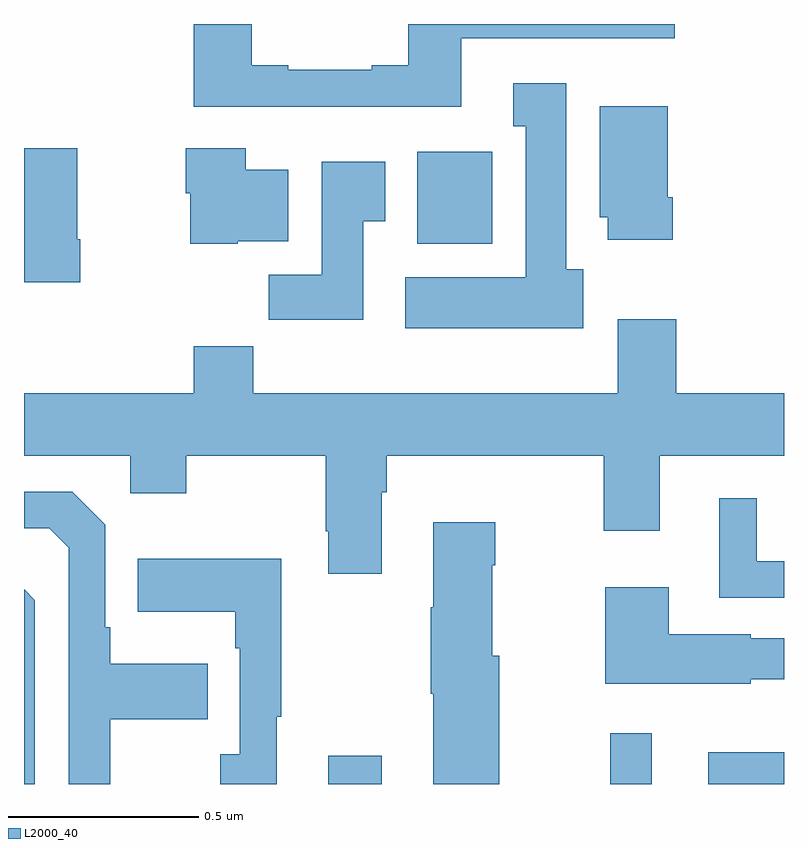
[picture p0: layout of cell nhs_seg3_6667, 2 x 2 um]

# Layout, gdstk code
import gdstk
lib = gdstk.Library(unit=1e-6, precision=1e-09)
def R(c, l, rs):  # rectangles x0, y0, x1, y1
    for r in rs: c.add(gdstk.rectangle(r[:2], r[2:], *l))
def P(c, l, *ps):  # polygons
    for p in ps: c.add(gdstk.Polygon(p, *l))
L2000_40 = (2000, 40)

nhs_seg3_6667 = lib.new_cell('nhs_seg3_6667')
R(nhs_seg3_6667, L2000_40, [(194.801,685.4,194.941,685.474), (195.543,685.4,195.652,685.534), (195.801,685.4,196,685.484), (195.035,686.822,195.232,687.064)])
P(nhs_seg3_6667, L2000_40, [(195.151,687.363),(195.712,687.363),(195.712,687.4),(195.011,687.4),(195.011,687.292),(194.915,687.292),(194.915,687.279),(194.695,687.279),(194.695,687.292),(194.599,687.292),(194.599,687.4),(194.447,687.4),(194.447,687.182),(195.151,687.182)],
  [(195.472,686.754),(195.427,686.754),(195.427,687.244),(195.287,687.244),(195.287,687.131),(195.32,687.131),(195.32,686.734),(195.003,686.734),(195.003,686.6),(195.472,686.6)],
  [(195.707,686.944),(195.694,686.944),(195.694,687.184),(195.515,687.184),(195.515,686.892),(195.536,686.892),(195.536,686.832),(195.707,686.832)],
  [(194.148,686.833),(194.14,686.833),(194.14,687.073),(194,687.073),(194,686.721),(194.148,686.721)],
  [(194.562,686.828),(194.695,686.828),(194.695,687.016),(194.584,687.016),(194.584,687.073),(194.426,687.073),(194.426,686.955),(194.437,686.955),(194.437,686.822),(194.562,686.822)],
  [(194.893,686.881),(194.95,686.881),(194.95,687.037),(194.783,687.037),(194.783,686.74),(194.644,686.74),(194.644,686.622),(194.893,686.622)],
  [(194.941,686.168),(194.954,686.168),(194.954,686.264),(195.526,686.264),(195.526,686.067),(195.673,686.067),(195.673,686.264),(196,686.264),(196,686.428),(195.716,686.428),(195.716,686.623),(195.563,686.623),(195.563,686.428),(194.603,686.428),(194.603,686.552),(194.447,686.552),(194.447,686.428),(194,686.428),(194,686.264),(194.28,686.264),(194.28,686.165),(194.427,686.165),(194.427,686.264),(194.794,686.264),(194.794,686.065),(194.801,686.065),(194.801,685.953),(194.941,685.953)],
  [(194.227,685.57),(194.483,685.57),(194.483,685.717),(194.227,685.717),(194.227,685.813),(194.214,685.813),(194.214,686.082),(194.127,686.169),(194,686.169),(194,686.073),(194.067,686.073),(194.118,686.022),(194.118,685.4),(194.227,685.4)],
  [(196,685.986),(195.928,685.986),(195.928,686.152),(195.83,686.152),(195.83,685.89),(196,685.89)],
  [(195.25,685.737),(195.232,685.737),(195.232,685.976),(195.24,685.976),(195.24,686.089),(195.077,686.089),(195.077,685.865),(195.07,685.865),(195.07,685.637),(195.077,685.637),(195.077,685.4),(195.25,685.4)],
  [(194.665,685.577),(194.677,685.577),(194.677,685.993),(194.299,685.993),(194.299,685.853),(194.556,685.853),(194.556,685.757),(194.568,685.757),(194.568,685.478),(194.517,685.478),(194.517,685.4),(194.665,685.4)],
  [(195.912,685.676),(196,685.676),(196,685.783),(195.912,685.783),(195.912,685.794),(195.697,685.794),(195.697,685.918),(195.53,685.918),(195.53,685.664),(195.912,685.664)],
  [(194.028,685.884),(194,685.912),(194,685.4),(194.028,685.4)])

lib.write_gds('nhs_seg3_6667.gds')
